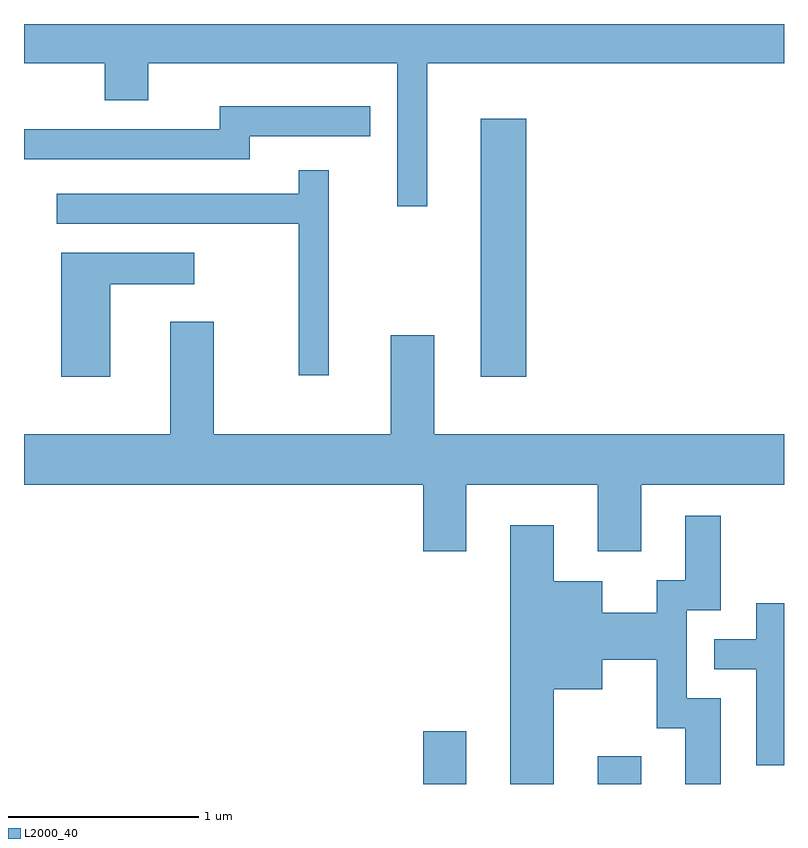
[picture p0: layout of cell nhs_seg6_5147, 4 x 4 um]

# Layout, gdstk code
import gdstk
lib = gdstk.Library(unit=1e-6, precision=1e-09)
def R(c, l, rs):  # rectangles x0, y0, x1, y1
    for r in rs: c.add(gdstk.rectangle(r[:2], r[2:], *l))
def P(c, l, *ps):  # polygons
    for p in ps: c.add(gdstk.Polygon(p, *l))
L2000_40 = (2000, 40)

nhs_seg6_5147 = lib.new_cell('nhs_seg6_5147')
R(nhs_seg6_5147, L2000_40, [(343.711,1626.162,343.939,1626.439), (344.631,1626.162,344.859,1626.309), (344.016,1628.306,344.254,1629.664)])
P(nhs_seg6_5147, L2000_40, [(343.734,1629.956),(345.611,1629.956),(345.611,1630.162),(341.611,1630.162),(341.611,1629.956),(342.036,1629.956),(342.036,1629.761),(342.264,1629.761),(342.264,1629.956),(343.576,1629.956),(343.576,1629.203),(343.734,1629.203)],
  [(342.799,1629.571),(343.433,1629.571),(343.433,1629.729),(342.641,1629.729),(342.641,1629.609),(341.611,1629.609),(341.611,1629.451),(342.799,1629.451)],
  [(343.214,1629.393),(343.056,1629.393),(343.056,1629.269),(341.783,1629.269),(341.783,1629.111),(343.056,1629.111),(343.056,1628.313),(343.214,1628.313)],
  [(342.064,1628.791),(342.508,1628.791),(342.508,1628.959),(341.806,1628.959),(341.806,1628.306),(342.064,1628.306)],
  [(343.939,1627.736),(344.631,1627.736),(344.631,1627.386),(344.859,1627.386),(344.859,1627.736),(345.611,1627.736),(345.611,1628.004),(343.769,1628.004),(343.769,1628.524),(343.541,1628.524),(343.541,1628.004),(342.609,1628.004),(342.609,1628.594),(342.381,1628.594),(342.381,1628.004),(341.611,1628.004),(341.611,1627.736),(343.711,1627.736),(343.711,1627.386),(343.939,1627.386)],
  [(344.399,1626.661),(344.654,1626.661),(344.654,1626.816),(344.941,1626.816),(344.941,1626.456),(345.091,1626.456),(345.091,1626.162),(345.279,1626.162),(345.279,1626.614),(345.099,1626.614),(345.099,1627.076),(345.279,1627.076),(345.279,1627.574),(345.091,1627.574),(345.091,1627.234),(344.941,1627.234),(344.941,1627.064),(344.654,1627.064),(344.654,1627.229),(344.399,1627.229),(344.399,1627.524),(344.171,1627.524),(344.171,1626.162),(344.399,1626.162)],
  [(345.611,1627.114),(345.466,1627.114),(345.466,1626.924),(345.243,1626.924),(345.243,1626.766),(345.466,1626.766),(345.466,1626.261),(345.611,1626.261)])

lib.write_gds('nhs_seg6_5147.gds')
